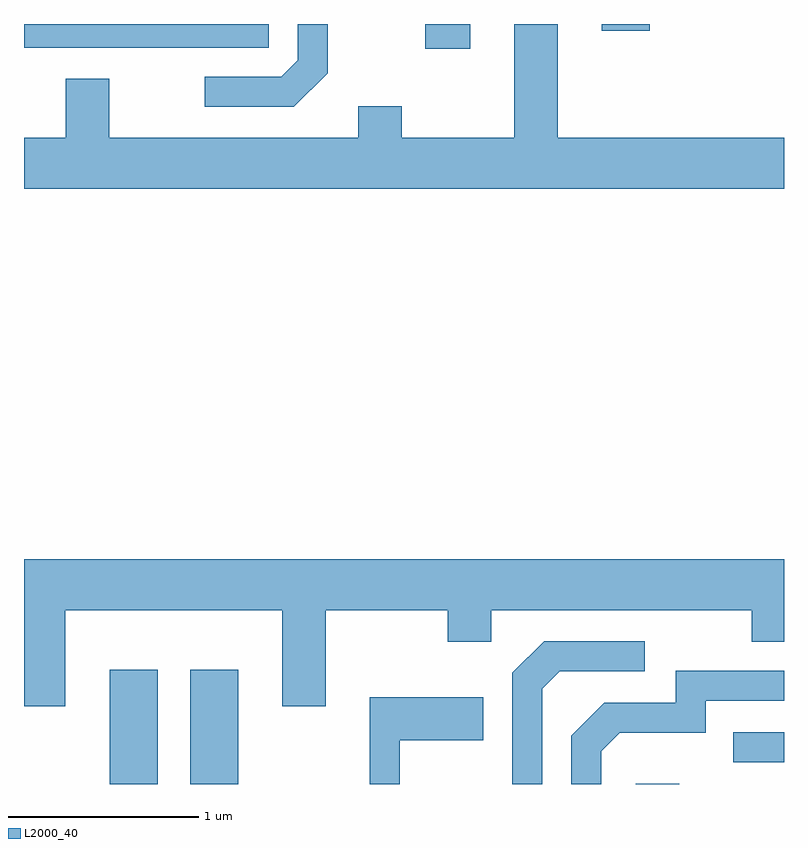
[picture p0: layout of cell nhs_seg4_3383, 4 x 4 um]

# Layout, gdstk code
import gdstk
lib = gdstk.Library(unit=1e-6, precision=1e-09)
def R(c, l, rs):  # rectangles x0, y0, x1, y1
    for r in rs: c.add(gdstk.rectangle(r[:2], r[2:], *l))
def P(c, l, *ps):  # polygons
    for p in ps: c.add(gdstk.Polygon(p, *l))
L2000_40 = (2000, 40)

nhs_seg4_3383 = lib.new_cell('nhs_seg4_3383')
R(nhs_seg4_3383, L2000_40, [(284.061,1355.982,284.314,1356.584), (284.486,1355.982,284.739,1356.584), (286.831,1355.982,287.059,1355.984), (287.343,1356.096,287.611,1356.254), (285.723,1359.851,285.959,1359.982), (283.611,1359.856,284.899,1359.982), (286.651,1359.946,286.904,1359.982)])
P(nhs_seg4_3383, L2000_40, [(287.611,1359.384),(286.419,1359.384),(286.419,1359.982),(286.191,1359.982),(286.191,1359.384),(285.599,1359.384),(285.599,1359.549),(285.371,1359.549),(285.371,1359.384),(284.059,1359.384),(284.059,1359.694),(283.831,1359.694),(283.831,1359.384),(283.611,1359.384),(283.611,1359.116),(287.611,1359.116)],
  [(285.209,1359.724),(285.209,1359.982),(285.051,1359.982),(285.051,1359.792),(284.964,1359.704),(284.563,1359.704),(284.563,1359.546),(285.032,1359.546)],
  [(283.829,1356.896),(284.971,1356.896),(284.971,1356.391),(285.199,1356.391),(285.199,1356.896),(285.841,1356.896),(285.841,1356.731),(286.069,1356.731),(286.069,1356.896),(287.441,1356.896),(287.441,1356.731),(287.611,1356.731),(287.611,1357.164),(283.611,1357.164),(283.611,1356.391),(283.829,1356.391)],
  [(286.339,1356.484),(286.432,1356.576),(286.878,1356.576),(286.878,1356.734),(286.349,1356.734),(286.181,1356.567),(286.181,1355.982),(286.339,1355.982)],
  [(286.649,1356.154),(286.747,1356.251),(287.199,1356.251),(287.199,1356.421),(287.611,1356.421),(287.611,1356.579),(287.041,1356.579),(287.041,1356.409),(286.664,1356.409),(286.491,1356.237),(286.491,1355.982),(286.649,1355.982)],
  [(285.589,1356.211),(286.029,1356.211),(286.029,1356.439),(285.431,1356.439),(285.431,1355.982),(285.589,1355.982)])

lib.write_gds('nhs_seg4_3383.gds')
